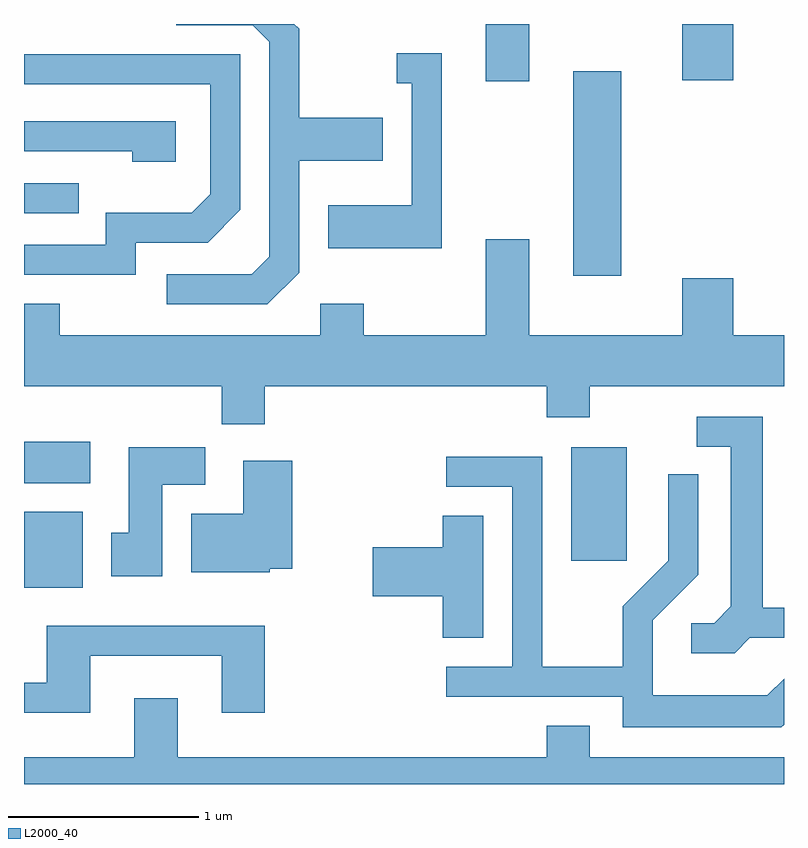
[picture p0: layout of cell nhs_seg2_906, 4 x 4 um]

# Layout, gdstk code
import gdstk
lib = gdstk.Library(unit=1e-6, precision=1e-09)
def R(c, l, rs):  # rectangles x0, y0, x1, y1
    for r in rs: c.add(gdstk.rectangle(r[:2], r[2:], *l))
def P(c, l, *ps):  # polygons
    for p in ps: c.add(gdstk.Polygon(p, *l))
L2000_40 = (2000, 40)

nhs_seg2_906 = lib.new_cell('nhs_seg2_906')
R(nhs_seg2_906, L2000_40, [(211.611,1022.836,211.919,1023.234), (214.491,1022.976,214.784,1023.574), (211.611,1023.386,211.959,1023.604), (214.501,1024.476,214.754,1025.554), (211.611,1024.806,211.898,1024.964), (214.041,1025.501,214.269,1025.802), (215.076,1025.506,215.344,1025.802)])
P(nhs_seg2_906, L2000_40, [(213.059,1024.494),(213.059,1025.081),(213.499,1025.081),(213.499,1025.309),(213.059,1025.309),(213.059,1025.777),(213.034,1025.802),(212.413,1025.802),(212.413,1025.796),(212.814,1025.796),(212.901,1025.709),(212.901,1024.577),(212.809,1024.484),(212.363,1024.484),(212.363,1024.326),(212.892,1024.326)],
  [(213.809,1025.649),(213.573,1025.649),(213.573,1025.491),(213.651,1025.491),(213.651,1024.849),(213.211,1024.849),(213.211,1024.621),(213.809,1024.621)],
  [(212.199,1024.651),(212.577,1024.651),(212.749,1024.824),(212.749,1025.644),(211.611,1025.644),(211.611,1025.486),(212.591,1025.486),(212.591,1024.907),(212.494,1024.809),(212.041,1024.809),(212.041,1024.639),(211.611,1024.639),(211.611,1024.481),(212.199,1024.481)],
  [(212.409,1025.289),(211.611,1025.289),(211.611,1025.131),(212.181,1025.131),(212.181,1025.076),(212.409,1025.076)],
  [(212.879,1023.896),(214.361,1023.896),(214.361,1023.731),(214.589,1023.731),(214.589,1023.896),(215.611,1023.896),(215.611,1024.164),(215.344,1024.164),(215.344,1024.464),(215.076,1024.464),(215.076,1024.164),(214.269,1024.164),(214.269,1024.669),(214.041,1024.669),(214.041,1024.164),(213.399,1024.164),(213.399,1024.329),(213.171,1024.329),(213.171,1024.164),(211.799,1024.164),(211.799,1024.329),(211.611,1024.329),(211.611,1023.896),(212.651,1023.896),(212.651,1023.696),(212.879,1023.696)],
  [(215.432,1022.571),(215.611,1022.571),(215.611,1022.729),(215.499,1022.729),(215.499,1023.734),(215.153,1023.734),(215.153,1023.576),(215.331,1023.576),(215.331,1022.737),(215.244,1022.649),(215.123,1022.649),(215.123,1022.491),(215.352,1022.491)],
  [(212.339,1023.376),(212.564,1023.376),(212.564,1023.574),(212.161,1023.574),(212.161,1023.124),(212.071,1023.124),(212.071,1022.896),(212.339,1022.896)],
  [(215.611,1022.115),(215.611,1022.356),(215.524,1022.269),(214.919,1022.269),(214.919,1022.664),(215.159,1022.904),(215.159,1023.433),(215.001,1023.433),(215.001,1022.977),(214.761,1022.737),(214.761,1022.419),(214.339,1022.419),(214.339,1023.524),(213.833,1023.524),(213.833,1023.366),(214.181,1023.366),(214.181,1022.419),(213.833,1022.419),(213.833,1022.261),(214.761,1022.261),(214.761,1022.101),(215.597,1022.101)],
  [(212.904,1022.936),(213.024,1022.936),(213.024,1023.504),(212.766,1023.504),(212.766,1023.224),(212.491,1023.224),(212.491,1022.916),(212.904,1022.916)],
  [(214.029,1023.214),(213.816,1023.214),(213.816,1023.049),(213.446,1023.049),(213.446,1022.791),(213.816,1022.791),(213.816,1022.571),(214.029,1022.571)],
  [(211.959,1022.476),(212.651,1022.476),(212.651,1022.176),(212.879,1022.176),(212.879,1022.634),(211.731,1022.634),(211.731,1022.334),(211.611,1022.334),(211.611,1022.176),(211.959,1022.176)],
  [(215.611,1021.944),(214.589,1021.944),(214.589,1022.109),(214.361,1022.109),(214.361,1021.944),(212.419,1021.944),(212.419,1022.254),(212.191,1022.254),(212.191,1021.944),(211.611,1021.944),(211.611,1021.802),(215.611,1021.802)])

lib.write_gds('nhs_seg2_906.gds')
